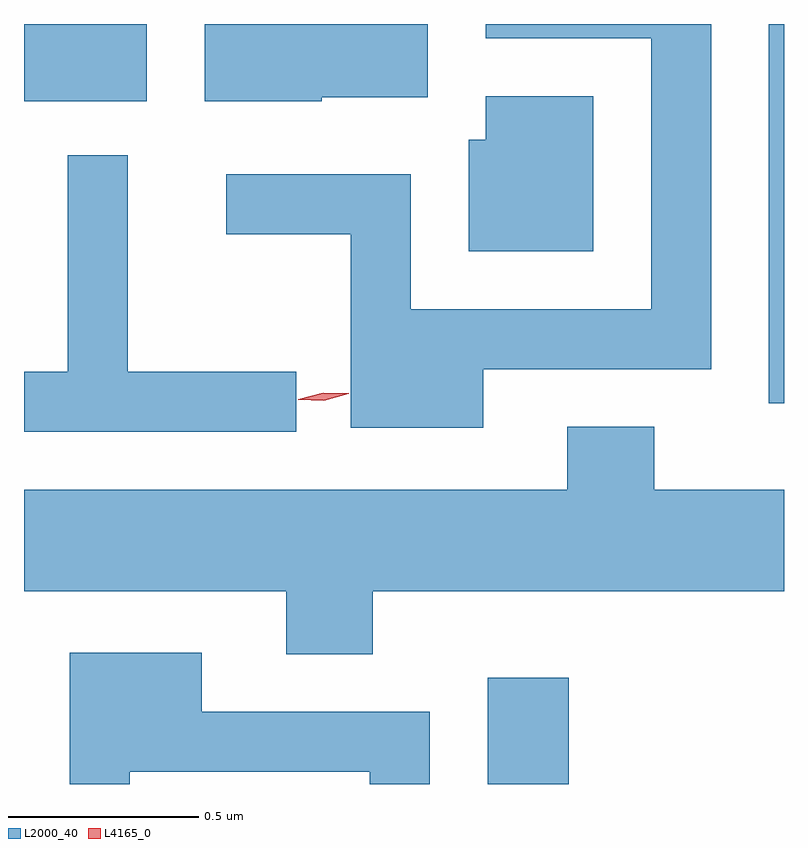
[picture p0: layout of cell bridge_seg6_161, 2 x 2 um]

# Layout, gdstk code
import gdstk
lib = gdstk.Library(unit=1e-6, precision=1e-09)
def R(c, l, rs):  # rectangles x0, y0, x1, y1
    for r in rs: c.add(gdstk.rectangle(r[:2], r[2:], *l))
def P(c, l, *ps):  # polygons
    for p in ps: c.add(gdstk.Polygon(p, *l))
L2000_40 = (2000, 40)
L4165_0 = (4165, 0)

bridge_seg6_161 = lib.new_cell('bridge_seg6_161')
R(bridge_seg6_161, L2000_40, [(1211.321,1596.149,1211.534,1596.429), (1212.061,1597.151,1212.101,1598.149), (1210.101,1597.946,1210.424,1598.149)])
P(bridge_seg6_161, L2000_40, [(1210.885,1597.956),(1211.164,1597.956),(1211.164,1598.149),(1210.576,1598.149),(1210.576,1597.946),(1210.885,1597.946)],
  [(1211.309,1597.241),(1211.909,1597.241),(1211.909,1598.149),(1211.316,1598.149),(1211.316,1598.111),(1211.751,1598.111),(1211.751,1597.399),(1211.119,1597.399),(1211.119,1597.754),(1210.633,1597.754),(1210.633,1597.596),(1210.961,1597.596),(1210.961,1597.086),(1211.309,1597.086)],
  [(1211.599,1597.959),(1211.316,1597.959),(1211.316,1597.844),(1211.271,1597.844),(1211.271,1597.551),(1211.599,1597.551)],
  [(1210.818,1597.234),(1210.374,1597.234),(1210.374,1597.803),(1210.216,1597.803),(1210.216,1597.234),(1210.101,1597.234),(1210.101,1597.076),(1210.818,1597.076)],
  [(1211.019,1596.656),(1212.101,1596.656),(1212.101,1596.924),(1211.759,1596.924),(1211.759,1597.089),(1211.531,1597.089),(1211.531,1596.924),(1210.101,1596.924),(1210.101,1596.656),(1210.791,1596.656),(1210.791,1596.491),(1211.019,1596.491)],
  [(1210.379,1596.181),(1211.011,1596.181),(1211.011,1596.149),(1211.169,1596.149),(1211.169,1596.339),(1210.569,1596.339),(1210.569,1596.494),(1210.221,1596.494),(1210.221,1596.149),(1210.379,1596.149)])
P(bridge_seg6_161, L4165_0, [(1210.89,1597.158),(1210.823,1597.16),(1210.823,1597.161),(1210.823,1597.161),(1210.888,1597.178),(1210.955,1597.177),(1210.956,1597.176),(1210.955,1597.176)])

lib.write_gds('bridge_seg6_161.gds')
